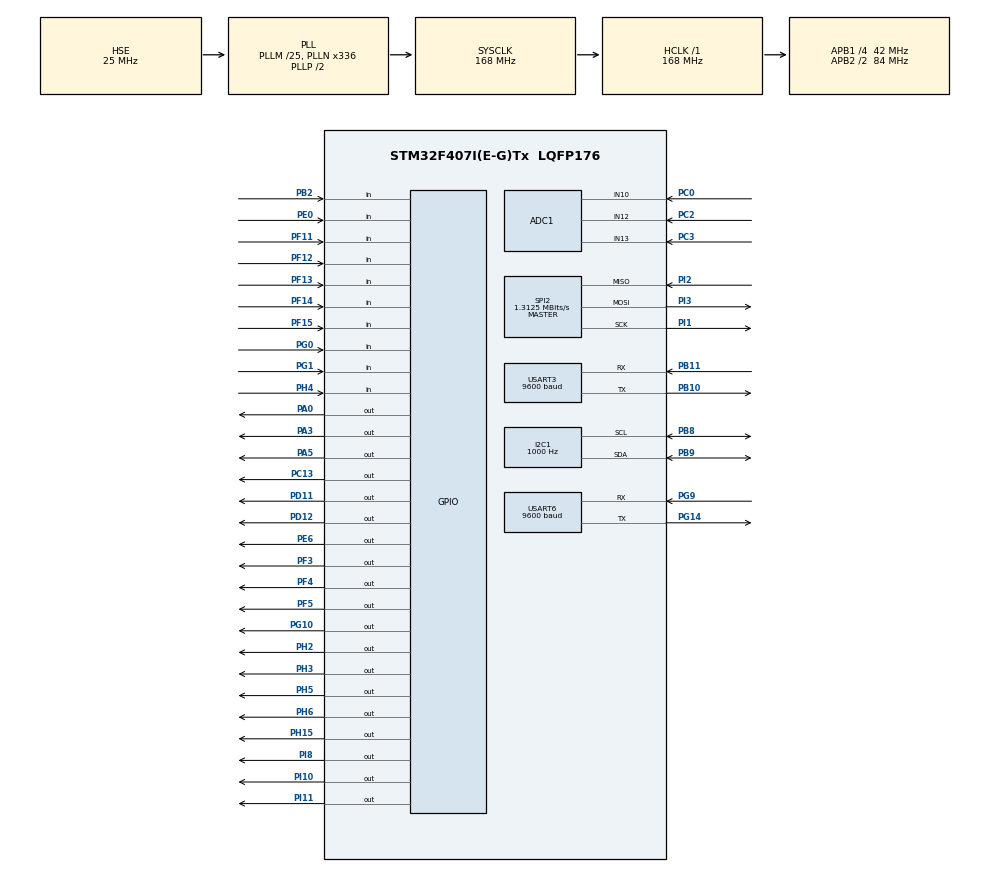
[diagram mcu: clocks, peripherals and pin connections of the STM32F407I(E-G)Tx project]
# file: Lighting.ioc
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ADC1.Channel-0\#ChannelRegularConversion=ADC_CHANNEL_10
ADC1.Channel-4\#ChannelRegularConversion=ADC_CHANNEL_12
ADC1.Channel-5\#ChannelRegularConversion=ADC_CHANNEL_13
ADC1.InjNumberOfConversion=0
ADC1.NbrOfConversion=3
ADC1.NbrOfConversionFlag=1
ADC1.Rank-0\#ChannelRegularConversion=1
ADC1.Rank-4\#ChannelRegularConversion=2
ADC1.Rank-5\#ChannelRegularConversion=3
ADC1.SamplingTime-0\#ChannelRegularConversion=ADC_SAMPLETIME_15CYCLES
ADC1.SamplingTime-4\#ChannelRegularConversion=ADC_SAMPLETIME_15CYCLES
ADC1.SamplingTime-5\#ChannelRegularConversion=ADC_SAMPLETIME_15CYCLES
ADC1.ScanConvMode=ENABLE
ADC1.master=1
Dma.ADC1.4.Direction=DMA_PERIPH_TO_MEMORY
Dma.ADC1.4.FIFOMode=DMA_FIFOMODE_DISABLE
Dma.ADC1.4.Instance=DMA2_Stream0
Dma.ADC1.4.MemDataAlignment=DMA_MDATAALIGN_HALFWORD
Dma.ADC1.4.MemInc=DMA_MINC_ENABLE
Dma.ADC1.4.Mode=DMA_NORMAL
Dma.ADC1.4.PeriphDataAlignment=DMA_PDATAALIGN_HALFWORD
Dma.ADC1.4.PeriphInc=DMA_PINC_DISABLE
Dma.ADC1.4.Priority=DMA_PRIORITY_LOW
Dma.Request0=USART3_TX
Dma.Request1=USART3_RX
Dma.Request2=USART6_TX
Dma.Request3=USART6_RX
Dma.Request4=ADC1
Dma.USART3_RX.1.Direction=DMA_PERIPH_TO_MEMORY
Dma.USART3_RX.1.FIFOMode=DMA_FIFOMODE_DISABLE
Dma.USART3_RX.1.Instance=DMA1_Stream1
Dma.USART3_RX.1.MemDataAlignment=DMA_MDATAALIGN_BYTE
Dma.USART3_RX.1.MemInc=DMA_MINC_ENABLE
Dma.USART3_RX.1.Mode=DMA_NORMAL
Dma.USART3_RX.1.PeriphDataAlignment=DMA_PDATAALIGN_BYTE
Dma.USART3_RX.1.PeriphInc=DMA_PINC_DISABLE
Dma.USART3_RX.1.Priority=DMA_PRIORITY_LOW
Dma.USART3_TX.0.Direction=DMA_MEMORY_TO_PERIPH
Dma.USART3_TX.0.FIFOMode=DMA_FIFOMODE_DISABLE
Dma.USART3_TX.0.Instance=DMA1_Stream3
Dma.USART3_TX.0.MemDataAlignment=DMA_MDATAALIGN_BYTE
Dma.USART3_TX.0.MemInc=DMA_MINC_ENABLE
Dma.USART3_TX.0.Mode=DMA_NORMAL
Dma.USART3_TX.0.PeriphDataAlignment=DMA_PDATAALIGN_BYTE
Dma.USART3_TX.0.PeriphInc=DMA_PINC_DISABLE
Dma.USART3_TX.0.Priority=DMA_PRIORITY_LOW
Dma.USART6_RX.3.Direction=DMA_PERIPH_TO_MEMORY
Dma.USART6_RX.3.FIFOMode=DMA_FIFOMODE_DISABLE
Dma.USART6_RX.3.Instance=DMA2_Stream1
Dma.USART6_RX.3.MemDataAlignment=DMA_MDATAALIGN_BYTE
Dma.USART6_RX.3.MemInc=DMA_MINC_ENABLE
Dma.USART6_RX.3.Mode=DMA_NORMAL
Dma.USART6_RX.3.PeriphDataAlignment=DMA_PDATAALIGN_BYTE
Dma.USART6_RX.3.PeriphInc=DMA_PINC_DISABLE
Dma.USART6_RX.3.Priority=DMA_PRIORITY_LOW
Dma.USART6_TX.2.Direction=DMA_MEMORY_TO_PERIPH
Dma.USART6_TX.2.FIFOMode=DMA_FIFOMODE_DISABLE
Dma.USART6_TX.2.Instance=DMA2_Stream6
Dma.USART6_TX.2.MemDataAlignment=DMA_MDATAALIGN_BYTE
Dma.USART6_TX.2.MemInc=DMA_MINC_ENABLE
Dma.USART6_TX.2.Mode=DMA_NORMAL
Dma.USART6_TX.2.PeriphDataAlignment=DMA_PDATAALIGN_BYTE
Dma.USART6_TX.2.PeriphInc=DMA_PINC_DISABLE
Dma.USART6_TX.2.Priority=DMA_PRIORITY_LOW
FREERTOS.INCLUDE_vTaskCleanUpResources=1
FREERTOS.INCLUDE_vTaskDelayUntil=1
FREERTOS.INCLUDE_xQueueGetMutexHolder=1
FREERTOS.INCLUDE_xSemaphoreGetMutexHolder=1
FREERTOS.Tasks01=defaultTask,0,128,StartDefaultTask,Default,NULL,Dynamic,NULL,NULL
FREERTOS.configTIMER_TASK_PRIORITY=5
FREERTOS.configTOTAL_HEAP_SIZE=30000
FREERTOS.configUSE_NEWLIB_REENTRANT=1
FREERTOS.configUSE_TIMERS=1
I2C1.ClockSpeed=1000
IWDG.Prescaler=IWDG_PRESCALER_32
IWDG.Reload=4000
Mcu.Family=STM32F4
Mcu.Name=STM32F407I(E-G)Tx
Mcu.Package=LQFP176
NVIC.DMA1_Stream1_IRQn=true\:5\:0\:false\:false\:true\:true\:false\:true\:true
NVIC.DMA1_Stream3_IRQn=true\:5\:0\:false\:false\:true\:true\:false\:true\:true
NVIC.DMA2_Stream0_IRQn=true\:5\:0\:false\:false\:true\:true\:false\:true\:true
NVIC.DMA2_Stream1_IRQn=true\:5\:0\:false\:false\:true\:true\:false\:true\:true
NVIC.DMA2_Stream6_IRQn=true\:5\:0\:false\:false\:true\:true\:false\:true\:true
NVIC.PriorityGroup=NVIC_PRIORITYGROUP_4
NVIC.TIM1_UP_TIM10_IRQn=true\:15\:0\:false\:false\:true\:false\:false\:true\:true
NVIC.TIM2_IRQn=true\:5\:0\:false\:false\:true\:true\:true\:true\:true
NVIC.TimeBase=TIM1_UP_TIM10_IRQn
NVIC.TimeBaseIP=TIM1
NVIC.USART3_IRQn=true\:5\:0\:false\:false\:true\:true\:true\:true\:true
NVIC.USART6_IRQn=true\:5\:0\:false\:false\:true\:true\:true\:true\:true
PA0-WKUP.PinState=GPIO_PIN_SET
PA0-WKUP.Signal=GPIO_Output
PA13.Mode=Serial_Wire
PA13.Signal=SYS_JTMS-SWDIO
PA14.Mode=Serial_Wire
PA14.Signal=SYS_JTCK-SWCLK
PA3.Signal=GPIO_Output
PA5.Signal=GPIO_Output
PB10.Mode=Asynchronous
PB10.Signal=USART3_TX
PB11.Mode=Asynchronous
PB11.Signal=USART3_RX
PB2.Signal=GPIO_Input
PB6.Signal=USART1_TX
PB7.Signal=USART1_RX
PB8.Mode=I2C
PB8.Signal=I2C1_SCL
PB9.Mode=I2C
PB9.Signal=I2C1_SDA
PC0.Signal=ADCx_IN10
PC13-ANTI_TAMP.Signal=GPIO_Output
PC14-OSC32_IN.Mode=LSE-External-Oscillator
PC14-OSC32_IN.Signal=RCC_OSC32_IN
PC15-OSC32_OUT.Mode=LSE-External-Oscillator
PC15-OSC32_OUT.Signal=RCC_OSC32_OUT
PC2.Signal=ADCx_IN12
PC3.Signal=ADCx_IN13
PD11.GPIO_PuPd=GPIO_PULLDOWN
PD11.Signal=GPIO_Output
PD12.GPIO_PuPd=GPIO_PULLDOWN
PD12.Signal=GPIO_Output
PE0.GPIO_PuPd=GPIO_PULLUP
PE0.Signal=GPIO_Input
PE6.Signal=GPIO_Output
PF11.Signal=GPIO_Input
PF12.Signal=GPIO_Input
PF13.Signal=GPIO_Input
PF14.Signal=GPIO_Input
PF15.Signal=GPIO_Input
PF3.PinState=GPIO_PIN_SET
PF3.Signal=GPIO_Output
PF4.PinState=GPIO_PIN_SET
PF4.Signal=GPIO_Output
PF5.PinState=GPIO_PIN_SET
PF5.Signal=GPIO_Output
PG0.Signal=GPIO_Input
PG1.Signal=GPIO_Input
PG10.GPIO_PuPd=GPIO_PULLDOWN
PG10.Signal=GPIO_Output
PG14.Mode=Asynchronous
PG14.Signal=USART6_TX
PG9.Mode=Asynchronous
PG9.Signal=USART6_RX
PH0-OSC_IN.Mode=HSE-External-Oscillator
PH0-OSC_IN.Signal=RCC_OSC_IN
PH1-OSC_OUT.Mode=HSE-External-Oscillator
PH1-OSC_OUT.Signal=RCC_OSC_OUT
PH15.PinState=GPIO_PIN_SET
PH15.Signal=GPIO_Output
PH2.PinState=GPIO_PIN_SET
PH2.Signal=GPIO_Output
PH3.PinState=GPIO_PIN_SET
PH3.Signal=GPIO_Output
PH4.Signal=GPIO_Input
PH5.Signal=GPIO_Output
PH6.Signal=GPIO_Output
PI1.Mode=Full_Duplex_Master
PI1.Signal=SPI2_SCK
PI10.PinState=GPIO_PIN_SET
PI10.Signal=GPIO_Output
PI11.PinState=GPIO_PIN_SET
PI11.Signal=GPIO_Output
PI2.Mode=Full_Duplex_Master
PI2.Signal=SPI2_MISO
PI3.Mode=Full_Duplex_Master
PI3.Signal=SPI2_MOSI
PI8-\ ANTI\ TAMP2.Signal=GPIO_Output
ProjectManager.HeapSize=0x200
ProjectManager.StackSize=0x400
ProjectManager.TargetToolchain=STM32CubeIDE
RCC.48MHZClocksFreq_Value=84000000
RCC.AHBFreq_Value=168000000
RCC.APB1CLKDivider=RCC_HCLK_DIV4
RCC.APB1Freq_Value=42000000
RCC.APB1TimFreq_Value=84000000
RCC.APB2CLKDivider=RCC_HCLK_DIV2
RCC.APB2Freq_Value=84000000
RCC.APB2TimFreq_Value=168000000
RCC.CortexFreq_Value=168000000
RCC.HCLKFreq_Value=168000000
RCC.HSE_VALUE=25000000
RCC.HSI_VALUE=16000000
RCC.PLLM=25
RCC.PLLN=336
RCC.PLLSourceVirtual=RCC_PLLSOURCE_HSE
RCC.RCC_RTC_Clock_Source=RCC_RTCCLKSOURCE_LSE
RCC.RCC_RTC_Clock_SourceVirtual=RCC_RTCCLKSOURCE_LSE
RCC.SYSCLKFreq_VALUE=168000000
RCC.SYSCLKSource=RCC_SYSCLKSOURCE_PLLCLK
RCC.VCOOutputFreq_Value=336000000
SH.ADCx_IN10.0=ADC1_IN10,IN10
SH.ADCx_IN12.0=ADC1_IN12,IN12
SH.ADCx_IN13.0=ADC1_IN13,IN13
SPI2.BaudRatePrescaler=SPI_BAUDRATEPRESCALER_32
SPI2.CalculateBaudRate=1.3125 MBits/s
SPI2.Direction=SPI_DIRECTION_2LINES
SPI2.Mode=SPI_MODE_MASTER
SPI2.VirtualType=VM_MASTER
TIM2.Period=8400
USART3.BaudRate=9600
USART3.VirtualMode=VM_ASYNC
USART6.BaudRate=9600
USART6.Parity=PARITY_EVEN
USART6.VirtualMode=VM_ASYNC
VP_FREERTOS_VS_CMSIS_V1.Mode=CMSIS_V1
VP_IWDG_VS_IWDG.Mode=IWDG_Activate
VP_RTC_VS_RTC_Activate.Mode=RTC_Enabled
VP_RTC_VS_RTC_Calendar.Mode=RTC_Calendar
VP_SYS_VS_tim1.Mode=TIM1
VP_TIM2_VS_ClockSourceINT.Mode=Internal
board=custom

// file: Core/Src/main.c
/* USER CODE BEGIN Header */
/**
  ******************************************************************************
  * @file           : main.c
  * @brief          : Main program body
  ******************************************************************************
  * @attention
  *
  * Copyright (c) 2022 STMicroelectronics.
  * All rights reserved.
  *
  * This software is licensed under terms that can be found in the LICENSE file
  * in the root directory of this software component.
  * If no LICENSE file comes with this software, it is provided AS-IS.
  *
  ******************************************************************************
  */
/* USER CODE END Header */
#include "main.h"
#include "cmsis_os.h"

/* USER CODE BEGIN Includes */

#include "gpio.h"
#include "m95.h"
#include "tsl2561.h"
#include "modbus.h"
#include "fm25v02.h"
//#include "math.h"
//#include "stdio.h"
//#include "string.h"

/* USER CODE END Includes */

 ADC_HandleTypeDef hadc1;
DMA_HandleTypeDef hdma_adc1;

I2C_HandleTypeDef hi2c1;

IWDG_HandleTypeDef hiwdg;

RTC_HandleTypeDef hrtc;

SPI_HandleTypeDef hspi2;

TIM_HandleTypeDef htim2;

UART_HandleTypeDef huart3;
UART_HandleTypeDef huart6;
DMA_HandleTypeDef hdma_usart3_tx;
DMA_HandleTypeDef hdma_usart3_rx;
DMA_HandleTypeDef hdma_usart6_tx;
DMA_HandleTypeDef hdma_usart6_rx;

osThreadId defaultTaskHandle;
/* USER CODE BEGIN PV */

osMessageQId ModbusQueueHandle;
osMessageQId MeterQueueHandle;

osTimerId AT_TimerHandle;
osTimerId Ring_Center_TimerHandle;

osMutexId UartMutexHandle;
osMutexId Fm25v02MutexHandle;

osSemaphoreId TransmissionStateHandle;
osSemaphoreId ReceiveStateHandle;
osSemaphoreId RS485TransmissionStateHandle;

osThreadId M95TaskHandle;
osThreadId ModbusTaskHandle;
osThreadId MainTaskHandle;
osThreadId ModbusPacketTaskHandle;
osThreadId ReadRegistersTaskHandle;
osThreadId EventWriteTaskHandle;
osThreadId GetCurrentTaskHandle;
osThreadId MeterTaskHandle;
osThreadId MeterPacketTaskHandle;

osSemaphoreId ModbusPacketReceiveHandle;
//osSemaphoreId CallRingCenterHandle;

volatile uint8_t security_state = 0x00;
RTC_TimeTypeDef security_time;
RTC_DateTypeDef security_date;

uint8_t flash[20];
uint8_t flash1[20];

uint8_t modem_tx_data[256];
uint8_t modem_rx_data[256];
char modem_rx_buffer[256];
uint8_t modbus_buffer[20][256];
uint8_t modem_rx_number = 0;
uint8_t modbus_buffer_number = 0;

volatile uint8_t read_rx_state;

//extern control_register_struct control_registers;

uint8_t meter_data[256];
uint8_t meter_rx_buffer[256];
uint8_t meter_rx_number = 0;

extern uint16_t data_in[3];
volatile uint32_t cur_data[3] = {0,0,0};
volatile uint16_t cur_counter = 0;
volatile uint32_t cur_a_average;
volatile uint32_t cur_b_average;
volatile uint32_t cur_c_average;
volatile uint32_t cur_a;
volatile uint32_t cur_b;
volatile uint32_t cur_c;

double data_lux;
bool gain=0;        // Gain setting, 0 = X1, 1 = X16;
unsigned char time = 2;
unsigned int ms;
unsigned int data0, data2;
double lux;    // Resulting lux value

extern control_register_struct control_registers;

/* USER CODE END PV */

void SystemClock_Config(void);
static void MX_GPIO_Init(void);
static void MX_IWDG_Init(void);
static void MX_DMA_Init(void);
static void MX_RTC_Init(void);
static void MX_SPI2_Init(void);
static void MX_USART3_UART_Init(void);
static void MX_USART6_UART_Init(void);
static void MX_ADC1_Init(void);
static void MX_TIM2_Init(void);
static void MX_I2C1_Init(void);
void StartDefaultTask(void const * argument);

/* USER CODE BEGIN PFP */

void Callback_AT_Timer(void const * argument);
void Callback_Ring_Center_Timer(void const * argument);

void ThreadIbuttonTask(void const * argument);
void ThreadSecurityTask(void const * argument);
void ThreadM95Task(void const * argument);
void ThreadModbusTask(void const * argument);
void ThreadMainTask(void const * argument);
void ThreadModbusPacketTask(void const * argument);
void ThreadCallRingCenterTask(void const * argument);
void ThreadLedTask(void const * argument);
void ThreadArmingTask(void const * argument);
void ThreadReadRegistersTask(void const * argument);
void ThreadEventWriteTask(void const * argument);
void ThreadGetCurrentTask(void const * argument);
void ThreadMeterTask(void const * argument);
void ThreadMeterPacketTask(void const * argument);

/* USER CODE END PFP */

/* USER CODE BEGIN 0 */

void HAL_UART_TxCpltCallback(UART_HandleTypeDef *huart)
{
	  if (huart->Instance == USART3)
	  {
		  osSemaphoreRelease(TransmissionStateHandle);
	  }

	  if (huart->Instance == USART6)
	  {
		  //LED8_TOGGLE();
		  osSemaphoreRelease(RS485TransmissionStateHandle);
		  HAL_GPIO_WritePin(GPIOG, GPIO_PIN_10, GPIO_PIN_RESET); // устанавливаем микросхему на прием
		  HAL_UART_Receive_DMA(&huart6, &meter_data[0], 1); // включаем прием со счетчика

	  }

}

void HAL_UART_RxCpltCallback(UART_HandleTypeDef *huart)
{

	  if (huart->Instance == USART3)
	  {
		  //LED_VD5_TOGGLE();
		  modem_rx_buffer[modem_rx_number++] = modem_rx_data[0];
		  osMessagePut(ModbusQueueHandle, (uint32_t)modem_rx_data[0], 2000);
		  HAL_UART_Receive_DMA(&huart3, &modem_rx_data[0], 1);
	  }

	  if (huart->Instance == USART6)
	  {
		  //LED7_TOGGLE();
		  meter_data[0] = meter_data[0]&0x7F;
		  meter_rx_buffer[meter_rx_number++] = meter_data[0];
		  HAL_GPIO_WritePin(GPIOG, GPIO_PIN_10, GPIO_PIN_RESET); // устанавливаем микросхему на прием
		  HAL_UART_Receive_DMA(&huart6, &meter_data[0], 1); // включаем прием со счетчика

		  //if(meter_rx_number>10){meter_rx_number=0;}

	  }

}

void HAL_ADC_ConvCpltCallback(ADC_HandleTypeDef* hadc)
{
  if(hadc->Instance == ADC1)
  {
	//LED_VD5_TOGGLE();

	cur_data[0] = cur_data[0] + data_in[0];
	cur_data[1] = cur_data[1] + data_in[1];
	cur_data[2] = cur_data[2] + data_in[2];

	cur_counter++;

	if(cur_counter>=100)
	{
		cur_counter=0;

		cur_a_average = cur_data[0]/100;
		cur_b_average = cur_data[1]/100;
		cur_c_average = cur_data[2]/100;

		cur_data[0] = 0;
		cur_data[1] = 0;
		cur_data[2] = 0;

		cur_a = cur_a_average*1300/4095; // 283
		cur_b = cur_b_average*1300/4095; // 283
		cur_c = cur_c_average*1300/4095; // 283

	}

	//osThreadResume(GetCurrentTaskHandle);
    //for (uint8_t i = 0; i < ADC_CHANNELS_NUM; i++)
    //{
      //adcVoltage[i] = adcData[i] * 3.3 / 4095;
    //}
  }
}

/* USER CODE END 0 */

int main(void)
{
  /* USER CODE BEGIN 1 */

  //uint8_t temp_h;
  //uint8_t temp_l;

  /* USER CODE END 1 */

  /* MCU Configuration--------------------------------------------------------*/

  /* Reset of all peripherals, Initializes the Flash interface and the Systick. */
  HAL_Init();

  /* Configure the system clock */
  SystemClock_Config();

  /* Initialize all configured peripherals */
  MX_GPIO_Init();
  MX_IWDG_Init();
  MX_DMA_Init();
  MX_RTC_Init();
  MX_SPI2_Init();
  MX_USART3_UART_Init();
  MX_USART6_UART_Init();
  MX_ADC1_Init();
  MX_TIM2_Init();
  MX_I2C1_Init();
  /* USER CODE BEGIN 2 */
 /*
  fm25v02_read(2*LIGHT_CONTROL_REG, &temp_h);
  fm25v02_read(2*LIGHT_CONTROL_REG+1, &temp_l);
  control_registers.light_control_reg = (((uint16_t)temp_h)<<8)|temp_l;

	if(((control_registers.light_control_reg)&0x0001)==0x0001) // если включена фаза А, выключаем фазу А
	{
		PHASE_A_ON(); // включаем фазу А
	}
	if(((control_registers.light_control_reg)&0x0002)==0x0002) // если включена фаза В, выключаем фазу В
	{
		PHASE_B_ON(); // включаем фазу А
	}
	if(((control_registers.light_control_reg)&0x0004)==0x0004) // если включена фаза С, выключаем фазу С
	{
		PHASE_C_ON(); // включаем фазу А
	}
*/

  BUZ_ON();
  HAL_Delay(50);
  BUZ_OFF();

  if( ((RCC->BDCR)&0x02) != 0 ) // Проверяем, запустился ли часовой кварц, если запустился включаем светодиод
  {
	  LED_VD4_ON();
  }
  else
  {
	  LED_VD4_OFF();
  }

  TSL2561_setTiming_ms(gain, time,&ms);
  TSL2561_setPowerUp();

  /* USER CODE END 2 */

  /* USER CODE BEGIN RTOS_MUTEX */
  /* add mutexes, ... */

  osMutexDef(UartMutex);
  UartMutexHandle = osMutexCreate(osMutex(UartMutex));

  osMutexDef(Fm25v02Mutex);
  Fm25v02MutexHandle = osMutexCreate(osMutex(Fm25v02Mutex));

  /* USER CODE END RTOS_MUTEX */

  /* USER CODE BEGIN RTOS_SEMAPHORES */
  /* add semaphores, ... */

  osSemaphoreDef(TransmissionState);
  TransmissionStateHandle = osSemaphoreCreate(osSemaphore(TransmissionState), 1);

  osSemaphoreDef(ReceiveState);
  ReceiveStateHandle = osSemaphoreCreate(osSemaphore(ReceiveState), 1);

  osSemaphoreDef(RS485TransmissionState);
  RS485TransmissionStateHandle = osSemaphoreCreate(osSemaphore(RS485TransmissionState), 1);

  osSemaphoreDef(ModbusPacketReceive);
  ModbusPacketReceiveHandle = osSemaphoreCreate(osSemaphore(ModbusPacketReceive), 1);

  /* USER CODE END RTOS_SEMAPHORES */

  /* USER CODE BEGIN RTOS_TIMERS */
  /* start timers, add new ones, ... */

  osTimerDef(AT_Timer, Callback_AT_Timer);
  AT_TimerHandle = osTimerCreate(osTimer(AT_Timer), osTimerOnce, NULL);

  osTimerDef(Ring_Center_Timer, Callback_Ring_Center_Timer);
  Ring_Center_TimerHandle = osTimerCreate(osTimer(Ring_Center_Timer), osTimerOnce, NULL);

  /* USER CODE END RTOS_TIMERS */

  /* USER CODE BEGIN RTOS_QUEUES */
  /* add queues, ... */

  osMessageQDef(ModbusQueue, 256, uint8_t);
  ModbusQueueHandle = osMessageCreate(osMessageQ(ModbusQueue), NULL);

  osMessageQDef(MeterQueue, 256, uint8_t);
  MeterQueueHandle = osMessageCreate(osMessageQ(MeterQueue), NULL);

  /* USER CODE END RTOS_QUEUES */

  /* Create the thread(s) */
  /* definition and creation of defaultTask */
  osThreadDef(defaultTask, StartDefaultTask, osPriorityNormal, 0, 128);
  defaultTaskHandle = osThreadCreate(osThread(defaultTask), NULL);

  /* USER CODE BEGIN RTOS_THREADS */
  /* add threads, ... */

  osThreadDef(M95Task, ThreadM95Task, osPriorityNormal, 0, 128);
  M95TaskHandle = osThreadCreate(osThread(M95Task), NULL);

  osThreadDef(ModbusTask, ThreadModbusTask, osPriorityNormal, 0, 128);
  ModbusTaskHandle = osThreadCreate(osThread(ModbusTask), NULL);

  osThreadDef(MainTask, ThreadMainTask, osPriorityNormal, 0, 128);
  MainTaskHandle = osThreadCreate(osThread(MainTask), NULL);

  osThreadDef(ModbusPacketTask, ThreadModbusPacketTask, osPriorityNormal, 0, 128);
  ModbusPacketTaskHandle = osThreadCreate(osThread(ModbusPacketTask), NULL);

  osThreadDef(ReadRegistersTask, ThreadReadRegistersTask, osPriorityNormal, 0, 128);
  ReadRegistersTaskHandle = osThreadCreate(osThread(ReadRegistersTask), NULL);

  osThreadDef(EventWriteTask, ThreadEventWriteTask, osPriorityNormal, 0, 128);
  EventWriteTaskHandle = osThreadCreate(osThread(EventWriteTask), NULL);

  osThreadDef(GetCurrentTask, ThreadGetCurrentTask, osPriorityNormal, 0, 128);
  GetCurrentTaskHandle = osThreadCreate(osThread(GetCurrentTask), NULL);

  osThreadDef(MeterTask, ThreadMeterTask, osPriorityNormal, 0, 128);
  MeterTaskHandle = osThreadCreate(osThread(MeterTask), NULL);

  /* USER CODE END RTOS_THREADS */

  /* Start scheduler */
  osKernelStart();

  /* We should never get here as control is now taken by the scheduler */
  /* Infinite loop */
  while (1)
  {

  }
}

void SystemClock_Config(void)
{
  RCC_OscInitTypeDef RCC_OscInitStruct = {0};
  RCC_ClkInitTypeDef RCC_ClkInitStruct = {0};

  /** Configure the main internal regulator output voltage
  */
  __HAL_RCC_PWR_CLK_ENABLE();
  __HAL_PWR_VOLTAGESCALING_CONFIG(PWR_REGULATOR_VOLTAGE_SCALE1);

  /** Initializes the RCC Oscillators according to the specified parameters
  * in the RCC_OscInitTypeDef structure.
  */
  RCC_OscInitStruct.OscillatorType = RCC_OSCILLATORTYPE_LSI|RCC_OSCILLATORTYPE_HSE
                              |RCC_OSCILLATORTYPE_LSE;
  RCC_OscInitStruct.HSEState = RCC_HSE_ON;
  RCC_OscInitStruct.LSEState = RCC_LSE_ON;
  RCC_OscInitStruct.LSIState = RCC_LSI_ON;
  RCC_OscInitStruct.PLL.PLLState = RCC_PLL_ON;
  RCC_OscInitStruct.PLL.PLLSource = RCC_PLLSOURCE_HSE;
  RCC_OscInitStruct.PLL.PLLM = 25;
  RCC_OscInitStruct.PLL.PLLN = 336;
  RCC_OscInitStruct.PLL.PLLP = RCC_PLLP_DIV2;
  RCC_OscInitStruct.PLL.PLLQ = 4;
  if (HAL_RCC_OscConfig(&RCC_OscInitStruct) != HAL_OK)
  {
    Error_Handler();
  }

  /** Initializes the CPU, AHB and APB buses clocks
  */
  RCC_ClkInitStruct.ClockType = RCC_CLOCKTYPE_HCLK|RCC_CLOCKTYPE_SYSCLK
                              |RCC_CLOCKTYPE_PCLK1|RCC_CLOCKTYPE_PCLK2;
  RCC_ClkInitStruct.SYSCLKSource = RCC_SYSCLKSOURCE_PLLCLK;
  RCC_ClkInitStruct.AHBCLKDivider = RCC_SYSCLK_DIV1;
  RCC_ClkInitStruct.APB1CLKDivider = RCC_HCLK_DIV4;
  RCC_ClkInitStruct.APB2CLKDivider = RCC_HCLK_DIV2;

  if (HAL_RCC_ClockConfig(&RCC_ClkInitStruct, FLASH_LATENCY_5) != HAL_OK)
  {
    Error_Handler();
  }
}

static void MX_ADC1_Init(void)
{

  ADC_ChannelConfTypeDef sConfig = {0};

  /** Configure the global features of the ADC (Clock, Resolution, Data Alignment and number of conversion)
  */
  hadc1.Instance = ADC1;
  hadc1.Init.ClockPrescaler = ADC_CLOCK_SYNC_PCLK_DIV4;
  hadc1.Init.Resolution = ADC_RESOLUTION_12B;
  hadc1.Init.ScanConvMode = ENABLE;
  hadc1.Init.ContinuousConvMode = DISABLE;
  hadc1.Init.DiscontinuousConvMode = DISABLE;
  hadc1.Init.ExternalTrigConvEdge = ADC_EXTERNALTRIGCONVEDGE_NONE;
  hadc1.Init.ExternalTrigConv = ADC_SOFTWARE_START;
  hadc1.Init.DataAlign = ADC_DATAALIGN_RIGHT;
  hadc1.Init.NbrOfConversion = 3;
  hadc1.Init.DMAContinuousRequests = DISABLE;
  hadc1.Init.EOCSelection = ADC_EOC_SINGLE_CONV;
  if (HAL_ADC_Init(&hadc1) != HAL_OK)
  {
    Error_Handler();
  }

  /** Configure for the selected ADC regular channel its corresponding rank in the sequencer and its sample time.
  */
  sConfig.Channel = ADC_CHANNEL_10;
  sConfig.Rank = 1;
  sConfig.SamplingTime = ADC_SAMPLETIME_15CYCLES;
  if (HAL_ADC_ConfigChannel(&hadc1, &sConfig) != HAL_OK)
  {
    Error_Handler();
  }

  /** Configure for the selected ADC regular channel its corresponding rank in the sequencer and its sample time.
  */
  sConfig.Channel = ADC_CHANNEL_12;
  sConfig.Rank = 2;
  if (HAL_ADC_ConfigChannel(&hadc1, &sConfig) != HAL_OK)
  {
    Error_Handler();
  }

  /** Configure for the selected ADC regular channel its corresponding rank in the sequencer and its sample time.
  */
  sConfig.Channel = ADC_CHANNEL_13;
  sConfig.Rank = 3;
  if (HAL_ADC_ConfigChannel(&hadc1, &sConfig) != HAL_OK)
  {
    Error_Handler();
  }

}

static void MX_I2C1_Init(void)
{

  hi2c1.Instance = I2C1;
  hi2c1.Init.ClockSpeed = 1000;
  hi2c1.Init.DutyCycle = I2C_DUTYCYCLE_2;
  hi2c1.Init.OwnAddress1 = 0;
  hi2c1.Init.AddressingMode = I2C_ADDRESSINGMODE_7BIT;
  hi2c1.Init.DualAddressMode = I2C_DUALADDRESS_DISABLE;
  hi2c1.Init.OwnAddress2 = 0;
  hi2c1.Init.GeneralCallMode = I2C_GENERALCALL_DISABLE;
  hi2c1.Init.NoStretchMode = I2C_NOSTRETCH_DISABLE;
  if (HAL_I2C_Init(&hi2c1) != HAL_OK)
  {
    Error_Handler();
  }

}

static void MX_IWDG_Init(void)
{

  hiwdg.Instance = IWDG;
  hiwdg.Init.Prescaler = IWDG_PRESCALER_32;
  hiwdg.Init.Reload = 4000;
  if (HAL_IWDG_Init(&hiwdg) != HAL_OK)
  {
    Error_Handler();
  }

}

static void MX_RTC_Init(void)
{

  RTC_TimeTypeDef sTime = {0};
  RTC_DateTypeDef sDate = {0};

  /** Initialize RTC Only
  */
  hrtc.Instance = RTC;
  hrtc.Init.HourFormat = RTC_HOURFORMAT_24;
  hrtc.Init.AsynchPrediv = 127;
  hrtc.Init.SynchPrediv = 255;
  hrtc.Init.OutPut = RTC_OUTPUT_DISABLE;
  hrtc.Init.OutPutPolarity = RTC_OUTPUT_POLARITY_HIGH;
  hrtc.Init.OutPutType = RTC_OUTPUT_TYPE_OPENDRAIN;
  if (HAL_RTC_Init(&hrtc) != HAL_OK)
  {
    Error_Handler();
  }

  /** Initialize RTC and set the Time and Date
  */
  /*
  sTime.Hours = 0x0;
  sTime.Minutes = 0x0;
  sTime.Seconds = 0x0;
  sTime.DayLightSaving = RTC_DAYLIGHTSAVING_NONE;
  sTime.StoreOperation = RTC_STOREOPERATION_RESET;
  if (HAL_RTC_SetTime(&hrtc, &sTime, RTC_FORMAT_BCD) != HAL_OK)
  {
    Error_Handler();
  }
  sDate.WeekDay = RTC_WEEKDAY_MONDAY;
  sDate.Month = RTC_MONTH_JANUARY;
  sDate.Date = 0x1;
  sDate.Year = 0x0;

  if (HAL_RTC_SetDate(&hrtc, &sDate, RTC_FORMAT_BCD) != HAL_OK)
  {
    Error_Handler();
  }
  */

}

static void MX_SPI2_Init(void)
{

  /* SPI2 parameter configuration*/
  hspi2.Instance = SPI2;
  hspi2.Init.Mode = SPI_MODE_MASTER;
  hspi2.Init.Direction = SPI_DIRECTION_2LINES;
  hspi2.Init.DataSize = SPI_DATASIZE_8BIT;
  hspi2.Init.CLKPolarity = SPI_POLARITY_LOW;
  hspi2.Init.CLKPhase = SPI_PHASE_1EDGE;
  hspi2.Init.NSS = SPI_NSS_SOFT;
  hspi2.Init.BaudRatePrescaler = SPI_BAUDRATEPRESCALER_32;
  hspi2.Init.FirstBit = SPI_FIRSTBIT_MSB;
  hspi2.Init.TIMode = SPI_TIMODE_DISABLE;
  hspi2.Init.CRCCalculation = SPI_CRCCALCULATION_DISABLE;
  hspi2.Init.CRCPolynomial = 10;
  if (HAL_SPI_Init(&hspi2) != HAL_OK)
  {
    Error_Handler();
  }

}

static void MX_TIM2_Init(void)
{

  TIM_ClockConfigTypeDef sClockSourceConfig = {0};
  TIM_MasterConfigTypeDef sMasterConfig = {0};

  htim2.Instance = TIM2;
  htim2.Init.Prescaler = 0;
  htim2.Init.CounterMode = TIM_COUNTERMODE_UP;
  htim2.Init.Period = 8400;
  htim2.Init.ClockDivision = TIM_CLOCKDIVISION_DIV1;
  htim2.Init.AutoReloadPreload = TIM_AUTORELOAD_PRELOAD_DISABLE;
  if (HAL_TIM_Base_Init(&htim2) != HAL_OK)
  {
    Error_Handler();
  }
  sClockSourceConfig.ClockSource = TIM_CLOCKSOURCE_INTERNAL;
  if (HAL_TIM_ConfigClockSource(&htim2, &sClockSourceConfig) != HAL_OK)
  {
    Error_Handler();
  }
  sMasterConfig.MasterOutputTrigger = TIM_TRGO_RESET;
  sMasterConfig.MasterSlaveMode = TIM_MASTERSLAVEMODE_DISABLE;
  if (HAL_TIMEx_MasterConfigSynchronization(&htim2, &sMasterConfig) != HAL_OK)
  {
    Error_Handler();
  }

}

static void MX_USART3_UART_Init(void)
{

  huart3.Instance = USART3;
  huart3.Init.BaudRate = 9600;
  huart3.Init.WordLength = UART_WORDLENGTH_8B;
  huart3.Init.StopBits = UART_STOPBITS_1;
  huart3.Init.Parity = UART_PARITY_NONE;
  huart3.Init.Mode = UART_MODE_TX_RX;
  huart3.Init.HwFlowCtl = UART_HWCONTROL_NONE;
  huart3.Init.OverSampling = UART_OVERSAMPLING_16;
  if (HAL_UART_Init(&huart3) != HAL_OK)
  {
    Error_Handler();
  }

}

static void MX_USART6_UART_Init(void)
{

  huart6.Instance = USART6;
  huart6.Init.BaudRate = 9600;
  huart6.Init.WordLength = UART_WORDLENGTH_8B;
  huart6.Init.StopBits = UART_STOPBITS_1;
  huart6.Init.Parity = UART_PARITY_EVEN;
  huart6.Init.Mode = UART_MODE_TX_RX;
  huart6.Init.HwFlowCtl = UART_HWCONTROL_NONE;
  huart6.Init.OverSampling = UART_OVERSAMPLING_16;
  if (HAL_UART_Init(&huart6) != HAL_OK)
  {
    Error_Handler();
  }

}

static void MX_DMA_Init(void)
{

  /* DMA controller clock enable */
  __HAL_RCC_DMA1_CLK_ENABLE();
  __HAL_RCC_DMA2_CLK_ENABLE();

  /* DMA interrupt init */
  /* DMA1_Stream1_IRQn interrupt configuration */
  HAL_NVIC_SetPriority(DMA1_Stream1_IRQn, 5, 0);
  HAL_NVIC_EnableIRQ(DMA1_Stream1_IRQn);
  /* DMA1_Stream3_IRQn interrupt configuration */
  HAL_NVIC_SetPriority(DMA1_Stream3_IRQn, 5, 0);
  HAL_NVIC_EnableIRQ(DMA1_Stream3_IRQn);
  /* DMA2_Stream0_IRQn interrupt configuration */
  HAL_NVIC_SetPriority(DMA2_Stream0_IRQn, 5, 0);
  HAL_NVIC_EnableIRQ(DMA2_Stream0_IRQn);
  /* DMA2_Stream1_IRQn interrupt configuration */
  HAL_NVIC_SetPriority(DMA2_Stream1_IRQn, 5, 0);
  HAL_NVIC_EnableIRQ(DMA2_Stream1_IRQn);
  /* DMA2_Stream6_IRQn interrupt configuration */
  HAL_NVIC_SetPriority(DMA2_Stream6_IRQn, 5, 0);
  HAL_NVIC_EnableIRQ(DMA2_Stream6_IRQn);

}

static void MX_GPIO_Init(void)
{
  GPIO_InitTypeDef GPIO_InitStruct = {0};

  /* GPIO Ports Clock Enable */
  __HAL_RCC_GPIOE_CLK_ENABLE();
  __HAL_RCC_GPIOI_CLK_ENABLE();
  __HAL_RCC_GPIOC_CLK_ENABLE();
  __HAL_RCC_GPIOF_CLK_ENABLE();
  __HAL_RCC_GPIOH_CLK_ENABLE();
  __HAL_RCC_GPIOA_CLK_ENABLE();
  __HAL_RCC_GPIOB_CLK_ENABLE();
  __HAL_RCC_GPIOG_CLK_ENABLE();
  __HAL_RCC_GPIOD_CLK_ENABLE();

  /*Configure GPIO pin Output Level */
  HAL_GPIO_WritePin(GPIOE, GPIO_PIN_6, GPIO_PIN_RESET);

  /*Configure GPIO pin Output Level */
  HAL_GPIO_WritePin(GPIOI, GPIO_PIN_8, GPIO_PIN_RESET);

  /*Configure GPIO pin Output Level */
  HAL_GPIO_WritePin(GPIOC, GPIO_PIN_13, GPIO_PIN_RESET);

  /*Configure GPIO pin Output Level */
  HAL_GPIO_WritePin(GPIOI, GPIO_PIN_10|GPIO_PIN_11, GPIO_PIN_SET);

  /*Configure GPIO pin Output Level */
  HAL_GPIO_WritePin(GPIOF, GPIO_PIN_3|GPIO_PIN_4|GPIO_PIN_5, GPIO_PIN_SET);

  /*Configure GPIO pin Output Level */
  HAL_GPIO_WritePin(GPIOA, GPIO_PIN_0, GPIO_PIN_SET);

  /*Configure GPIO pin Output Level */
  HAL_GPIO_WritePin(GPIOH, GPIO_PIN_2|GPIO_PIN_3|GPIO_PIN_15, GPIO_PIN_SET);

  /*Configure GPIO pin Output Level */
  HAL_GPIO_WritePin(GPIOH, GPIO_PIN_5|GPIO_PIN_6, GPIO_PIN_RESET);

  /*Configure GPIO pin Output Level */
  HAL_GPIO_WritePin(GPIOA, GPIO_PIN_3|GPIO_PIN_5, GPIO_PIN_RESET);

  /*Configure GPIO pin Output Level */
  HAL_GPIO_WritePin(GPIOD, GPIO_PIN_11|GPIO_PIN_12, GPIO_PIN_RESET);

  /*Configure GPIO pin Output Level */
  HAL_GPIO_WritePin(GPIOG, GPIO_PIN_10, GPIO_PIN_RESET);

  /*Configure GPIO pin : PE6 */
  GPIO_InitStruct.Pin = GPIO_PIN_6;
  GPIO_InitStruct.Mode = GPIO_MODE_OUTPUT_PP;
  GPIO_InitStruct.Pull = GPIO_NOPULL;
  GPIO_InitStruct.Speed = GPIO_SPEED_FREQ_LOW;
  HAL_GPIO_Init(GPIOE, &GPIO_InitStruct);

  /*Configure GPIO pins : PI8 PI10 PI11 */
  GPIO_InitStruct.Pin = GPIO_PIN_8|GPIO_PIN_10|GPIO_PIN_11;
  GPIO_InitStruct.Mode = GPIO_MODE_OUTPUT_PP;
  GPIO_InitStruct.Pull = GPIO_NOPULL;
  GPIO_InitStruct.Speed = GPIO_SPEED_FREQ_LOW;
  HAL_GPIO_Init(GPIOI, &GPIO_InitStruct);

  /*Configure GPIO pin : PC13 */
  GPIO_InitStruct.Pin = GPIO_PIN_13;
  GPIO_InitStruct.Mode = GPIO_MODE_OUTPUT_PP;
  GPIO_InitStruct.Pull = GPIO_NOPULL;
  GPIO_InitStruct.Speed = GPIO_SPEED_FREQ_LOW;
  HAL_GPIO_Init(GPIOC, &GPIO_InitStruct);

  /*Configure GPIO pins : PF3 PF4 PF5 */
  GPIO_InitStruct.Pin = GPIO_PIN_3|GPIO_PIN_4|GPIO_PIN_5;
  GPIO_InitStruct.Mode = GPIO_MODE_OUTPUT_PP;
  GPIO_InitStruct.Pull = GPIO_NOPULL;
  GPIO_InitStruct.Speed = GPIO_SPEED_FREQ_LOW;
  HAL_GPIO_Init(GPIOF, &GPIO_InitStruct);

  /*Configure GPIO pins : PA0 PA3 PA5 */
  GPIO_InitStruct.Pin = GPIO_PIN_0|GPIO_PIN_3|GPIO_PIN_5;
  GPIO_InitStruct.Mode = GPIO_MODE_OUTPUT_PP;
  GPIO_InitStruct.Pull = GPIO_NOPULL;
  GPIO_InitStruct.Speed = GPIO_SPEED_FREQ_LOW;
  HAL_GPIO_Init(GPIOA, &GPIO_InitStruct);

  /*Configure GPIO pins : PH2 PH3 PH5 PH6
                           PH15 */
  GPIO_InitStruct.Pin = GPIO_PIN_2|GPIO_PIN_3|GPIO_PIN_5|GPIO_PIN_6
                          |GPIO_PIN_15;
  GPIO_InitStruct.Mode = GPIO_MODE_OUTPUT_PP;
  GPIO_InitStruct.Pull = GPIO_NOPULL;
  GPIO_InitStruct.Speed = GPIO_SPEED_FREQ_LOW;
  HAL_GPIO_Init(GPIOH, &GPIO_InitStruct);

  /*Configure GPIO pin : PH4 */
  GPIO_InitStruct.Pin = GPIO_PIN_4;
  GPIO_InitStruct.Mode = GPIO_MODE_INPUT;
  GPIO_InitStruct.Pull = GPIO_NOPULL;
  HAL_GPIO_Init(GPIOH, &GPIO_InitStruct);

  /*Configure GPIO pin : PB2 */
  GPIO_InitStruct.Pin = GPIO_PIN_2;
  GPIO_InitStruct.Mode = GPIO_MODE_INPUT;
  GPIO_InitStruct.Pull = GPIO_NOPULL;
  HAL_GPIO_Init(GPIOB, &GPIO_InitStruct);

  /*Configure GPIO pins : PF11 PF12 PF13 PF14
                           PF15 */
  GPIO_InitStruct.Pin = GPIO_PIN_11|GPIO_PIN_12|GPIO_PIN_13|GPIO_PIN_14
                          |GPIO_PIN_15;
  GPIO_InitStruct.Mode = GPIO_MODE_INPUT;
  GPIO_InitStruct.Pull = GPIO_NOPULL;
  HAL_GPIO_Init(GPIOF, &GPIO_InitStruct);

  /*Configure GPIO pins : PG0 PG1 */
  GPIO_InitStruct.Pin = GPIO_PIN_0|GPIO_PIN_1;
  GPIO_InitStruct.Mode = GPIO_MODE_INPUT;
  GPIO_InitStruct.Pull = GPIO_NOPULL;
  HAL_GPIO_Init(GPIOG, &GPIO_InitStruct);

  /*Configure GPIO pins : PD11 PD12 */
  GPIO_InitStruct.Pin = GPIO_PIN_11|GPIO_PIN_12;
  GPIO_InitStruct.Mode = GPIO_MODE_OUTPUT_PP;
  GPIO_InitStruct.Pull = GPIO_PULLDOWN;
  GPIO_InitStruct.Speed = GPIO_SPEED_FREQ_LOW;
  HAL_GPIO_Init(GPIOD, &GPIO_InitStruct);

  /*Configure GPIO pin : PG10 */
  GPIO_InitStruct.Pin = GPIO_PIN_10;
  GPIO_InitStruct.Mode = GPIO_MODE_OUTPUT_PP;
  GPIO_InitStruct.Pull = GPIO_PULLDOWN;
  GPIO_InitStruct.Speed = GPIO_SPEED_FREQ_LOW;
  HAL_GPIO_Init(GPIOG, &GPIO_InitStruct);

  /*Configure GPIO pins : PB6 PB7 */
  GPIO_InitStruct.Pin = GPIO_PIN_6|GPIO_PIN_7;
  GPIO_InitStruct.Mode = GPIO_MODE_AF_PP;
  GPIO_InitStruct.Pull = GPIO_NOPULL;
  GPIO_InitStruct.Speed = GPIO_SPEED_FREQ_VERY_HIGH;
  GPIO_InitStruct.Alternate = GPIO_AF7_USART1;
  HAL_GPIO_Init(GPIOB, &GPIO_InitStruct);

  /*Configure GPIO pin : PE0 */
  GPIO_InitStruct.Pin = GPIO_PIN_0;
  GPIO_InitStruct.Mode = GPIO_MODE_INPUT;
  GPIO_InitStruct.Pull = GPIO_PULLUP;
  HAL_GPIO_Init(GPIOE, &GPIO_InitStruct);

}

/* USER CODE BEGIN 4 */

void Callback_AT_Timer(void const * argument)
{

	read_rx_state = NOT_ACTIVE;

}

/* Callback_Ring_Center_Timer function */
void Callback_Ring_Center_Timer(void const * argument)
{

	//NVIC_SystemReset();
	m95_power_off();
	osTimerStart(Ring_Center_TimerHandle, 60000);// перезапускаем таймер перезагрузки

}

/* USER CODE END 4 */

void StartDefaultTask(void const * argument)
{
  /* USER CODE BEGIN 5 */
  /* Infinite loop */
  for(;;)
  {

	osMutexWait(Fm25v02MutexHandle, osWaitForever);

	HAL_IWDG_Refresh(&hiwdg);
	LED_VD3_TOGGLE();

	osMutexRelease(Fm25v02MutexHandle);

    osDelay(1000);

  }
  /* USER CODE END 5 */
}

void HAL_TIM_PeriodElapsedCallback(TIM_HandleTypeDef *htim)
{
  if (htim->Instance == TIM1) {
    HAL_IncTick();
  }
  /* USER CODE BEGIN Callback 1 */
	if(htim->Instance == TIM2) //check if the interrupt comes from TIM1
	{
		HAL_TIM_Base_Start_IT(&htim2);
		HAL_ADC_Start_DMA(&hadc1, (uint32_t*)data_in, 3);
		//LED_VD5_TOGGLE();

	}

  /* USER CODE END Callback 1 */
}

void Error_Handler(void)
{
  /* USER CODE BEGIN Error_Handler_Debug */

	NVIC_SystemReset();

  /* User can add his own implementation to report the HAL error return state */
  __disable_irq();
  while (1)
  {
  }
  /* USER CODE END Error_Handler_Debug */
}
